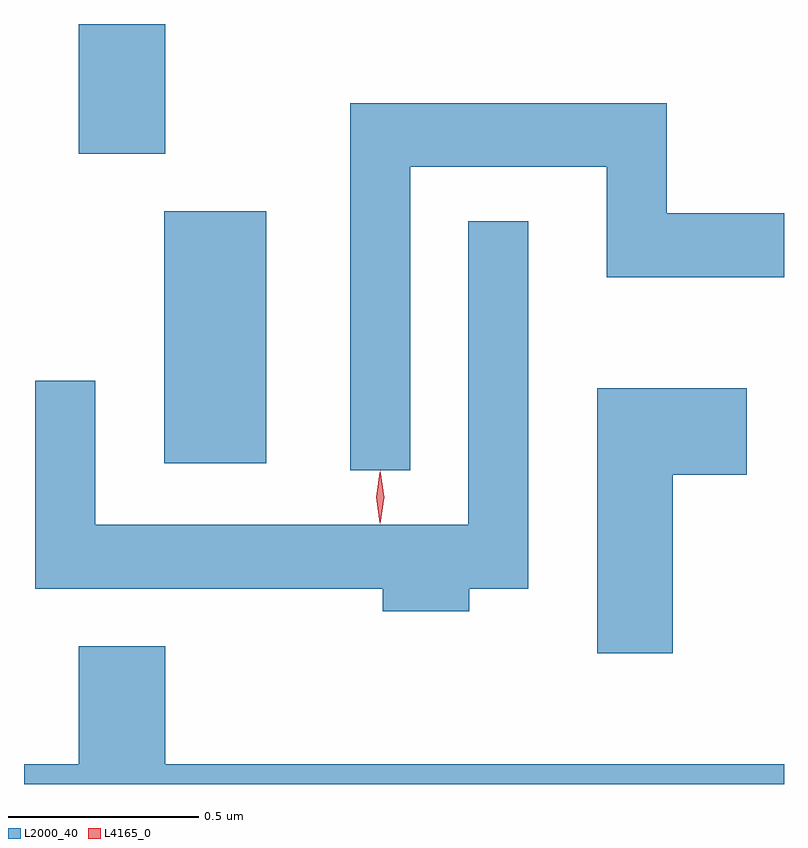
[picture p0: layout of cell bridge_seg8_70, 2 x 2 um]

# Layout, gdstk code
import gdstk
lib = gdstk.Library(unit=1e-6, precision=1e-09)
def R(c, l, rs):  # rectangles x0, y0, x1, y1
    for r in rs: c.add(gdstk.rectangle(r[:2], r[2:], *l))
def P(c, l, *ps):  # polygons
    for p in ps: c.add(gdstk.Polygon(p, *l))
L2000_40 = (2000, 40)
L4165_0 = (4165, 0)

bridge_seg8_70 = lib.new_cell('bridge_seg8_70')
R(bridge_seg8_70, L2000_40, [(1570.206,1810.836,1570.474,1811.499), (1569.981,1811.651,1570.209,1811.992)])
P(bridge_seg8_70, L2000_40, [(1570.854,1811.616),(1571.371,1811.616),(1571.371,1811.326),(1571.837,1811.326),(1571.837,1811.494),(1571.529,1811.494),(1571.529,1811.784),(1570.696,1811.784),(1570.696,1810.818),(1570.854,1810.818)],
  [(1571.009,1810.506),(1571.164,1810.506),(1571.164,1811.473),(1571.006,1811.473),(1571.006,1810.674),(1570.024,1810.674),(1570.024,1811.053),(1569.866,1811.053),(1569.866,1810.506),(1570.781,1810.506),(1570.781,1810.446),(1571.009,1810.446)],
  [(1571.544,1810.806),(1571.739,1810.806),(1571.739,1811.034),(1571.346,1811.034),(1571.346,1810.336),(1571.544,1810.336)],
  [(1569.981,1810.354),(1569.981,1810.044),(1569.837,1810.044),(1569.837,1809.992),(1571.837,1809.992),(1571.837,1810.044),(1570.209,1810.044),(1570.209,1810.354)])
P(bridge_seg8_70, L4165_0, [(1570.774,1810.679),(1570.773,1810.68),(1570.764,1810.746),(1570.773,1810.812),(1570.774,1810.813),(1570.774,1810.812),(1570.784,1810.746),(1570.774,1810.68)],
  [(1570.774,1810.677),(1570.765,1810.746),(1570.774,1810.816),(1570.775,1810.816),(1570.775,1810.816),(1570.785,1810.746),(1570.775,1810.677),(1570.775,1810.677)])

lib.write_gds('bridge_seg8_70.gds')
